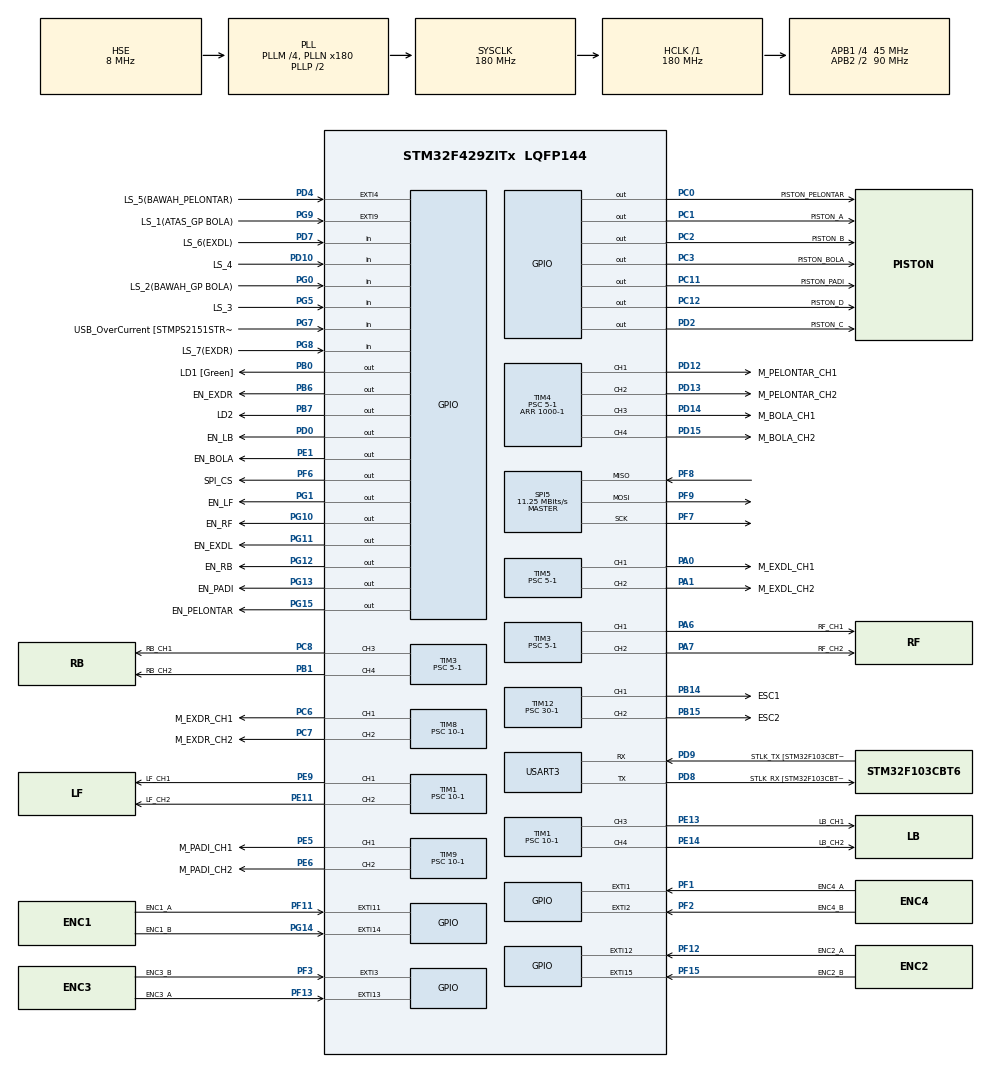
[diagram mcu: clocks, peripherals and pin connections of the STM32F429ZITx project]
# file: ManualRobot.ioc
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FREERTOS.Tasks01=InputTask,1,512,InputHandle_Task,Default,NULL,Dynamic,NULL,NULL;MechanismTask,0,512,MechanismHandle_Task,Default,NULL,Dynamic,NULL,NULL;OmniTask,0,512,OmniHandle_Task,Default,NULL,Dynamic,NULL,NULL
FREERTOS.configUSE_NEWLIB_REENTRANT=1
Mcu.Family=STM32F4
Mcu.Name=STM32F429ZITx
Mcu.Package=LQFP144
NVIC.EXTI15_10_IRQn=true\:5\:0\:false\:false\:true\:true\:true\:true\:true
NVIC.EXTI1_IRQn=true\:5\:0\:false\:false\:true\:true\:true\:true\:true
NVIC.EXTI2_IRQn=true\:5\:0\:false\:false\:true\:true\:true\:true\:true
NVIC.EXTI3_IRQn=true\:5\:0\:false\:false\:true\:true\:true\:true\:true
NVIC.EXTI4_IRQn=true\:5\:0\:false\:false\:true\:true\:true\:true\:true
NVIC.EXTI9_5_IRQn=true\:5\:0\:false\:false\:true\:true\:true\:true\:true
NVIC.PriorityGroup=NVIC_PRIORITYGROUP_4
NVIC.TIM7_IRQn=true\:15\:0\:false\:false\:true\:false\:false\:true\:true
NVIC.TimeBase=TIM7_IRQn
NVIC.TimeBaseIP=TIM7
NVIC.USART3_IRQn=true\:5\:0\:false\:false\:true\:true\:true\:true\:true
PA0/WKUP.GPIO_Label=M_EXDL_CH1
PA0/WKUP.Signal=S_TIM5_CH1
PA1.GPIO_Label=M_EXDL_CH2
PA1.Signal=S_TIM5_CH2
PA13.GPIO_Label=TMS
PA13.Mode=Serial_Wire
PA13.Signal=SYS_JTMS-SWDIO
PA14.GPIO_Label=TCK
PA14.Mode=Serial_Wire
PA14.Signal=SYS_JTCK-SWCLK
PA6.GPIO_Label=RF_CH1
PA6.Signal=S_TIM3_CH1
PA7.GPIO_Label=RF_CH2
PA7.Signal=S_TIM3_CH2
PB0.GPIO_Label=LD1 [Green]
PB0.Signal=GPIO_Output
PB1.GPIO_Label=RB_CH2
PB1.Signal=S_TIM3_CH4
PB14.GPIO_Label=ESC1
PB14.Signal=S_TIM12_CH1
PB15.GPIO_Label=ESC2
PB15.Signal=S_TIM12_CH2
PB6.GPIO_Label=EN_EXDR
PB6.Signal=GPIO_Output
PB7.GPIO_Label=LD2 
PB7.Signal=GPIO_Output
PC0.GPIO_Label=PISTON_PELONTAR
PC0.GPIO_Speed=GPIO_SPEED_FREQ_MEDIUM
PC0.Signal=GPIO_Output
PC1.GPIO_Label=PISTON_A
PC1.GPIO_Speed=GPIO_SPEED_FREQ_MEDIUM
PC1.Signal=GPIO_Output
PC11.GPIO_Label=PISTON_PADI
PC11.GPIO_Speed=GPIO_SPEED_FREQ_MEDIUM
PC11.Signal=GPIO_Output
PC12.GPIO_Label=PISTON_D
PC12.GPIO_Speed=GPIO_SPEED_FREQ_MEDIUM
PC12.Signal=GPIO_Output
PC14/OSC32_IN.Mode=LSE-External-Oscillator
PC14/OSC32_IN.Signal=RCC_OSC32_IN
PC15/OSC32_OUT.Mode=LSE-External-Oscillator
PC15/OSC32_OUT.Signal=RCC_OSC32_OUT
PC2.GPIO_Label=PISTON_B
PC2.GPIO_Speed=GPIO_SPEED_FREQ_MEDIUM
PC2.Signal=GPIO_Output
PC3.GPIO_Label=PISTON_BOLA
PC3.GPIO_Speed=GPIO_SPEED_FREQ_MEDIUM
PC3.Signal=GPIO_Output
PC6.GPIO_Label=M_EXDR_CH1
PC6.Signal=S_TIM8_CH1
PC7.GPIO_Label=M_EXDR_CH2
PC7.Signal=S_TIM8_CH2
PC8.GPIO_Label=RB_CH1
PC8.Signal=S_TIM3_CH3
PD0.GPIO_Label=EN_LB
PD0.Signal=GPIO_Output
PD10.GPIO_Label=LS_4
PD10.GPIO_PuPd=GPIO_PULLUP
PD10.Signal=GPIO_Input
PD12.GPIO_Label=M_PELONTAR_CH1
PD12.Signal=S_TIM4_CH1
PD13.GPIO_Label=M_PELONTAR_CH2
PD13.Signal=S_TIM4_CH2
PD14.GPIO_Label=M_BOLA_CH1
PD14.Signal=S_TIM4_CH3
PD15.GPIO_Label=M_BOLA_CH2
PD15.Signal=S_TIM4_CH4
PD2.GPIO_Label=PISTON_C
PD2.GPIO_Speed=GPIO_SPEED_FREQ_MEDIUM
PD2.Signal=GPIO_Output
PD4.GPIO_Label=LS_5(BAWAH_PELONTAR)
PD4.GPIO_PuPd=GPIO_PULLUP
PD4.Signal=GPXTI4
PD7.GPIO_Label=LS_6(EXDL)
PD7.GPIO_PuPd=GPIO_PULLUP
PD7.Signal=GPIO_Input
PD8.GPIO_Label=STLK_RX [STM32F103CBT6_PA3]
PD8.Mode=Asynchronous
PD8.Signal=USART3_TX
PD9.GPIO_Label=STLK_TX [STM32F103CBT6_PA2]
PD9.Mode=Asynchronous
PD9.Signal=USART3_RX
PE1.GPIO_Label=EN_BOLA
PE1.Signal=GPIO_Output
PE11.GPIO_Label=LF_CH2
PE11.Signal=S_TIM1_CH2
PE13.GPIO_Label=LB_CH1
PE13.Signal=S_TIM1_CH3
PE14.GPIO_Label=LB_CH2
PE14.Signal=S_TIM1_CH4
PE5.GPIO_Label=M_PADI_CH1
PE5.Signal=S_TIM9_CH1
PE6.GPIO_Label=M_PADI_CH2
PE6.Signal=S_TIM9_CH2
PE9.GPIO_Label=LF_CH1
PE9.Signal=S_TIM1_CH1
PF1.GPIO_Label=ENC4_A
PF1.GPIO_PuPd=GPIO_PULLUP
PF1.Signal=GPXTI1
PF11.GPIO_Label=ENC1_A
PF11.GPIO_ModeDefaultEXTI=GPIO_MODE_IT_RISING
PF11.GPIO_PuPd=GPIO_PULLUP
PF11.Signal=GPXTI11
PF12.GPIO_Label=ENC2_A
PF12.GPIO_PuPd=GPIO_PULLUP
PF12.Signal=GPXTI12
PF13.GPIO_Label=ENC3_A
PF13.GPIO_PuPd=GPIO_PULLUP
PF13.Signal=GPXTI13
PF15.GPIO_Label=ENC2_B
PF15.GPIO_PuPd=GPIO_PULLUP
PF15.Signal=GPXTI15
PF2.GPIO_Label=ENC4_B
PF2.GPIO_PuPd=GPIO_PULLUP
PF2.Signal=GPXTI2
PF2.Stacked=true
PF3.GPIO_Label=ENC3_B
PF3.GPIO_PuPd=GPIO_PULLUP
PF3.Signal=GPXTI3
PF6.GPIO_Label=SPI_CS
PF6.Signal=GPIO_Output
PF7.Mode=Full_Duplex_Master
PF7.Signal=SPI5_SCK
PF8.Mode=Full_Duplex_Master
PF8.Signal=SPI5_MISO
PF9.Mode=Full_Duplex_Master
PF9.Signal=SPI5_MOSI
PG0.GPIO_Label=LS_2(BAWAH_GP BOLA)
PG0.GPIO_PuPd=GPIO_PULLUP
PG0.Signal=GPIO_Input
PG1.GPIO_Label=EN_LF
PG1.Signal=GPIO_Output
PG10.GPIO_Label=EN_RF
PG10.Signal=GPIO_Output
PG11.GPIO_Label=EN_EXDL
PG11.Signal=GPIO_Output
PG12.GPIO_Label=EN_RB
PG12.Signal=GPIO_Output
PG13.GPIO_Label=EN_PADI
PG13.Signal=GPIO_Output
PG14.GPIO_Label=ENC1_B
PG14.GPIO_PuPd=GPIO_PULLUP
PG14.Signal=GPXTI14
PG15.GPIO_Label=EN_PELONTAR
PG15.Signal=GPIO_Output
PG5.GPIO_Label=LS_3
PG5.GPIO_PuPd=GPIO_PULLUP
PG5.Signal=GPIO_Input
PG7.GPIO_Label=USB_OverCurrent [STMPS2151STR_FAULT]
PG7.Signal=GPIO_Input
PG8.GPIO_Label=LS_7(EXDR)
PG8.GPIO_PuPd=GPIO_PULLUP
PG8.Signal=GPIO_Input
PG9.GPIO_Label=LS_1(ATAS_GP BOLA)
PG9.GPIO_PuPd=GPIO_PULLUP
PG9.Signal=GPXTI9
PH0/OSC_IN.GPIO_Label=MCO [STM32F103CBT6_PA8]
PH0/OSC_IN.Mode=HSE-External-Clock-Source
PH0/OSC_IN.Signal=RCC_OSC_IN
PH1/OSC_OUT.Mode=HSE-External-Clock-Source
PH1/OSC_OUT.Signal=RCC_OSC_OUT
ProjectManager.HeapSize=0x200
ProjectManager.StackSize=0x400
ProjectManager.TargetToolchain=STM32CubeIDE
RCC.48MHZClocksFreq_Value=51428571.428571425
RCC.AHBFreq_Value=180000000
RCC.APB1CLKDivider=RCC_HCLK_DIV4
RCC.APB1Freq_Value=45000000
RCC.APB1TimFreq_Value=90000000
RCC.APB2CLKDivider=RCC_HCLK_DIV2
RCC.APB2Freq_Value=90000000
RCC.APB2TimFreq_Value=180000000
RCC.CortexFreq_Value=180000000
RCC.HCLKFreq_Value=180000000
RCC.HSE_VALUE=8000000
RCC.HSI_VALUE=16000000
RCC.PLLM=4
RCC.PLLMUL=RCC_PLL_MUL9
RCC.PLLN=180
RCC.PLLQ=7
RCC.PLLSourceVirtual=RCC_PLLSOURCE_HSE
RCC.PRESCALERUSB=RCC_USBCLKSOURCE_PLL_DIV1_5
RCC.SYSCLKFreq_VALUE=180000000
RCC.SYSCLKSource=RCC_SYSCLKSOURCE_PLLCLK
RCC.SYSCLKSourceVirtual=RCC_SYSCLKSOURCE_PLLCLK
RCC.USBFreq_Value=48000000
RCC.VCOOutputFreq_Value=360000000
SH.S_TIM12_CH1.0=TIM12_CH1,PWM Generation1 CH1
SH.S_TIM12_CH2.0=TIM12_CH2,PWM Generation2 CH2
SH.S_TIM1_CH1.0=TIM1_CH1,PWM Generation1 CH1
SH.S_TIM1_CH2.0=TIM1_CH2,PWM Generation2 CH2
SH.S_TIM1_CH3.0=TIM1_CH3,PWM Generation3 CH3
SH.S_TIM1_CH4.0=TIM1_CH4,PWM Generation4 CH4
SH.S_TIM3_CH1.0=TIM3_CH1,PWM Generation1 CH1
SH.S_TIM3_CH2.0=TIM3_CH2,PWM Generation2 CH2
SH.S_TIM3_CH3.0=TIM3_CH3,PWM Generation3 CH3
SH.S_TIM3_CH4.0=TIM3_CH4,PWM Generation4 CH4
SH.S_TIM4_CH1.0=TIM4_CH1,PWM Generation1 CH1
SH.S_TIM4_CH2.0=TIM4_CH2,PWM Generation2 CH2
SH.S_TIM4_CH3.0=TIM4_CH3,PWM Generation3 CH3
SH.S_TIM4_CH4.0=TIM4_CH4,PWM Generation4 CH4
SH.S_TIM5_CH1.0=TIM5_CH1,PWM Generation1 CH1
SH.S_TIM5_CH2.0=TIM5_CH2,PWM Generation2 CH2
SH.S_TIM8_CH1.0=TIM8_CH1,PWM Generation1 CH1
SH.S_TIM8_CH2.0=TIM8_CH2,PWM Generation2 CH2
SH.S_TIM9_CH1.0=TIM9_CH1,PWM Generation1 CH1
SH.S_TIM9_CH2.0=TIM9_CH2,PWM Generation2 CH2
SPI5.BaudRatePrescaler=SPI_BAUDRATEPRESCALER_8
SPI5.CalculateBaudRate=11.25 MBits/s
SPI5.Direction=SPI_DIRECTION_2LINES
SPI5.Mode=SPI_MODE_MASTER
SPI5.VirtualType=VM_MASTER
TIM1.AutoReloadPreload=TIM_AUTORELOAD_PRELOAD_ENABLE
TIM1.Channel-PWM\ Generation1\ CH1=TIM_CHANNEL_1
TIM1.Channel-PWM\ Generation2\ CH2=TIM_CHANNEL_2
TIM1.Channel-PWM\ Generation3\ CH3=TIM_CHANNEL_3
TIM1.Channel-PWM\ Generation4\ CH4=TIM_CHANNEL_4
TIM1.Period=1000-1
TIM1.Prescaler=10-1
TIM12.AutoReloadPreload=TIM_AUTORELOAD_PRELOAD_ENABLE
TIM12.Channel-PWM\ Generation1\ CH1=TIM_CHANNEL_1
TIM12.Channel-PWM\ Generation2\ CH2=TIM_CHANNEL_2
TIM12.Period=60000-1
TIM12.Prescaler=30-1
TIM3.AutoReloadPreload=TIM_AUTORELOAD_PRELOAD_ENABLE
TIM3.Channel-PWM\ Generation1\ CH1=TIM_CHANNEL_1
TIM3.Channel-PWM\ Generation2\ CH2=TIM_CHANNEL_2
TIM3.Channel-PWM\ Generation3\ CH3=TIM_CHANNEL_3
TIM3.Channel-PWM\ Generation4\ CH4=TIM_CHANNEL_4
TIM3.Period=1000-1
TIM3.Prescaler=5-1
TIM4.AutoReloadPreload=TIM_AUTORELOAD_PRELOAD_ENABLE
TIM4.Channel-PWM\ Generation1\ CH1=TIM_CHANNEL_1
TIM4.Channel-PWM\ Generation2\ CH2=TIM_CHANNEL_2
TIM4.Channel-PWM\ Generation3\ CH3=TIM_CHANNEL_3
TIM4.Channel-PWM\ Generation4\ CH4=TIM_CHANNEL_4
TIM4.Period=1000-1
TIM4.Prescaler=5-1
TIM5.AutoReloadPreload=TIM_AUTORELOAD_PRELOAD_ENABLE
TIM5.Channel-PWM\ Generation1\ CH1=TIM_CHANNEL_1
TIM5.Channel-PWM\ Generation2\ CH2=TIM_CHANNEL_2
TIM5.Period=1000-1
TIM5.Prescaler=5-1
TIM8.AutoReloadPreload=TIM_AUTORELOAD_PRELOAD_ENABLE
TIM8.Channel-PWM\ Generation1\ CH1=TIM_CHANNEL_1
TIM8.Channel-PWM\ Generation2\ CH2=TIM_CHANNEL_2
TIM8.Period=1000-1
TIM8.Prescaler=10-1
TIM9.AutoReloadPreload=TIM_AUTORELOAD_PRELOAD_ENABLE
TIM9.Channel-PWM\ Generation1\ CH1=TIM_CHANNEL_1
TIM9.Channel-PWM\ Generation2\ CH2=TIM_CHANNEL_2
TIM9.Period=1000-1
TIM9.Prescaler=10-1
USART3.VirtualMode=VM_ASYNC
VP_FREERTOS_VS_CMSIS_V1.Mode=CMSIS_V1
VP_SYS_VS_tim7.Mode=TIM7
VP_TIM12_VS_ClockSourceINT.Mode=Internal
VP_TIM1_VS_ClockSourceINT.Mode=Internal
VP_TIM3_VS_ClockSourceINT.Mode=Internal
VP_TIM4_VS_ClockSourceINT.Mode=Internal
VP_TIM5_VS_ClockSourceINT.Mode=Internal
VP_TIM8_VS_ClockSourceINT.Mode=Internal
VP_TIM9_VS_ClockSourceINT.Mode=Internal
board=NUCLEO-F429ZI

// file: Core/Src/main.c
/* USER CODE BEGIN Header */
/**
  ******************************************************************************
  * @file           : main.c
  * @brief          : Main program body
  ******************************************************************************
  * @attention
  *
  * Copyright (c) 2024 STMicroelectronics.
  * All rights reserved.
  *
  * This software is licensed under terms that can be found in the LICENSE file
  * in the root directory of this software component.
  * If no LICENSE file comes with this software, it is provided AS-IS.
  *
  ******************************************************************************
  */
/* USER CODE END Header */
#include "main.h"
#include "cmsis_os.h"

/* USER CODE BEGIN Includes */
#include "CAN_SPI.h"
#include "stdio.h"
#include "4kinematik.h"
#include "motor_ctrl.h"
#include "ds4.h"
#include "ReadRPM.h"
#include "PID.h"
/* USER CODE END Includes */

/* USER CODE BEGIN PTD */
#define Calibrate 1
/* USER CODE END PTD */

SPI_HandleTypeDef hspi5;

TIM_HandleTypeDef htim1;
TIM_HandleTypeDef htim3;
TIM_HandleTypeDef htim4;
TIM_HandleTypeDef htim5;
TIM_HandleTypeDef htim8;
TIM_HandleTypeDef htim9;
TIM_HandleTypeDef htim12;

UART_HandleTypeDef huart3;

osThreadId InputTaskHandle;
osThreadId MechanismTaskHandle;
osThreadId OmniTaskHandle;
/* USER CODE BEGIN PV */
//input stik
int atas, bawah, kanan, kiri, kotak, silang, bulat, segitiga;
int l1, r1, l3, r3, share, options, ps, tpad;
int lx,ly,l2,r2,lxs,lys;
int rxm,rym,lxm,lym,th;
int atas1, tpad1, r3a; //flag tombol
//omni
int wheel[4];
int pulse_enc, pulse_dist;
double rpm1 = 0, rpm2 = 0, rpm3 = 0, rpm4 = 0;
int ret;
int i=0;
double nos=1;
int putar=0, putar1=0;
//sistem mode
int mode=1; //flag MODE
int lsflag_1=0,lsflag_2=0,lsflag_3=0,lsflag_4=0,lsflag_5=0,lsflag_6=0,lsflag_7=0,flagFirst=0,capit=0;
int stepLoading=0, loopPadi=0, stepPadi=0, p1=0, p2=0, p3=0, p4=0, p5=0;//p=read silinder
int l=1; // flag posisi awal ganti mode
//BLDC
int kec=0,kec1=0;
int adj=0;
int dutyAdj=0;
uint32_t dutyR=3000;
int k=3000;
//debounce
uint32_t currentTick,nowTick;
/* USER CODE END PV */

void SystemClock_Config(void);
static void MX_GPIO_Init(void);
static void MX_USART3_UART_Init(void);
static void MX_TIM3_Init(void);
static void MX_TIM12_Init(void);
static void MX_TIM1_Init(void);
static void MX_SPI5_Init(void);
static void MX_TIM4_Init(void);
static void MX_TIM5_Init(void);
static void MX_TIM8_Init(void);
static void MX_TIM9_Init(void);
void InputHandle_Task(void const * argument);
void MechanismHandle_Task(void const * argument);
void OmniHandle_Task(void const * argument);

/* USER CODE BEGIN PFP */
void HAL_GPIO_EXTI_Callback(uint16_t GPIO_Pin);
/* USER CODE END PFP */

/* USER CODE BEGIN 0 */
uCAN_MSG txMessage;
uCAN_MSG rxMessage;

int map(int value, int fromLow, int fromHigh, int toLow, int toHigh) {//map nilai
    return (int) (value - fromLow) * (toHigh - toLow) / (fromHigh - fromLow) + toLow;
}

int _write(int file, char *ptr, int len){ //buat printf
	HAL_UART_Transmit_IT(&huart3, (uint8_t*)ptr, len);
	return len;
}
void mode_padi(){
	lsflag_3=HAL_GPIO_ReadPin(LS_3_GPIO_Port, LS_3_Pin);
	lsflag_4=HAL_GPIO_ReadPin(LS_4_GPIO_Port, LS_4_Pin);
	lsflag_6=HAL_GPIO_ReadPin(LS_6_GPIO_Port, LS_6_Pin);
	lsflag_7=HAL_GPIO_ReadPin(LS_7_GPIO_Port, LS_7_Pin);
	p4 = HAL_GPIO_ReadPin(PISTON_D_GPIO_Port, PISTON_D_Pin);
	p5 = HAL_GPIO_ReadPin(PISTON_PADI_GPIO_Port, PISTON_PADI_Pin);
	if(l==-1){//kondisi awal masuk mode padi setelah kembali dari mode bola
		motor_drive(&MBola, 1, 800);
		if(lsflag_1==1){
			motor_drive(&MBola, 0, 0);
			lsflag_2=0;
			l=1;
		}
	}
	if (kanan==1){//nutup manual 1, buka -1
		motor_drive(&MExtendRight, 1, 750);//kanan 1
		lsflag_7=1;
	}
	else{
		motor_drive(&MExtendRight, 1, 0);
	}
	if (kiri==1){//nutup manual -1, buka 1
		motor_drive(&MExtendLeft, -1, 750);//kiri nutup -1
		lsflag_6=1;
	}
	else{
		motor_drive(&MExtendLeft, 1, 0);
	}

	if (atas==1) {//buka(extend) otomatis
		atas1=1;
	}
	if (atas1==1){//buka(extend) otomatis
		if (lsflag_7==1){
			motor_drive(&MExtendRight, -1, 750);//buka
		}
		else {
			motor_drive(&MExtendRight, 0, 0);
		}
		if (lsflag_6==1){
			motor_drive(&MExtendLeft, 1, 750);//buka
		}
		else {
			motor_drive(&MExtendLeft, 0, 0);
		}
		if(lsflag_6 == 0 && lsflag_7 == 0){
			atas1=0;
		}
	}

	if (bawah==1){//reset buka oto, reset sequence padi
		atas1=0;
		loopPadi=0;
		stepPadi=0;
	}

	if (kotak==1){//japit 4 padi
		if(currentTick-nowTick>200){
			HAL_GPIO_TogglePin(PISTON_A_GPIO_Port, PISTON_A_Pin);
			HAL_GPIO_TogglePin(PISTON_B_GPIO_Port, PISTON_B_Pin);
			HAL_GPIO_TogglePin(PISTON_C_GPIO_Port, PISTON_C_Pin);
			HAL_GPIO_TogglePin(PISTON_D_GPIO_Port, PISTON_D_Pin);
			nowTick = currentTick;
		}
	}
	else if (silang==1){//japit padi 1
		if(currentTick-nowTick>500){
			HAL_GPIO_TogglePin(PISTON_A_GPIO_Port, PISTON_A_Pin);
			nowTick = currentTick;
		}
	}
	else if (bulat==1){//japit padi 2
		if(currentTick-nowTick>500){
			HAL_GPIO_TogglePin(PISTON_B_GPIO_Port, PISTON_B_Pin);
			nowTick = currentTick;
		}
	}
	if (l1==1){//turun lift padi
		if (lsflag_4==1){//turun
			motor_drive(&MPadi, -1, 1000);
		}
		else {
			motor_drive(&MPadi, 0 , 0);
		}
	}
	else if (r1==1){//naik lift padi
		if (lsflag_3==1){//naik
			motor_drive(&MPadi, 1, 1000);
		}
		else {
			motor_drive(&MPadi, 0 , 0);
		}
	}
	else{//ketika l1 /r1 tidak ada aktivitas
		motor_drive(&MPadi, 1, 0);
	}

	if (r3==1){//start zone/ posisi awal tekuk dan bawah nyentuh ls4
		r3a=1;
	}
	else if(r3a==1){//sequence posisi start
		if(currentTick-nowTick>500){
			HAL_GPIO_TogglePin(PISTON_PADI_GPIO_Port, PISTON_PADI_Pin);
			nowTick = currentTick;
		}
		vTaskDelay(300);
		if(p5==1){
			atas1=1;
			HAL_GPIO_WritePin(PISTON_D_GPIO_Port, PISTON_D_Pin, RESET);
		}
		else if(p5==0){
			HAL_GPIO_WritePin(PISTON_D_GPIO_Port, PISTON_D_Pin, SET);
		}
		loopPadi=0;
		stepPadi=0;
		r3a=0;
	}
	else if (share==1){//japit padi 3
		if(currentTick-nowTick>500){
			HAL_GPIO_TogglePin(PISTON_C_GPIO_Port, PISTON_C_Pin);
			nowTick = currentTick;
		}
	}
	else if (options==1){//japit padi 4
		if(currentTick-nowTick>500){
			HAL_GPIO_TogglePin(PISTON_D_GPIO_Port, PISTON_D_Pin);
			nowTick = currentTick;
		}
	}
	else if (tpad==1){//masuk mode sequence semi auto padi
		if(currentTick-nowTick>500){
			loopPadi+=1;
			nowTick = currentTick;
		}
		stepPadi=0;
	}
	if (loopPadi==1){//sequence semi auto padi
		if (stepPadi==0) {//posisi awal dibawah
			if (lsflag_4==1){//turun
				motor_drive(&MPadi, -1, 1000);
			}
			else {
				motor_drive(&MPadi, 0 , 0);
				stepPadi=1;
			}
		}
		else if (stepPadi==1) {//cek buka capit padi
			p1 = HAL_GPIO_ReadPin(PISTON_A_GPIO_Port, PISTON_A_Pin);
			p2 = HAL_GPIO_ReadPin(PISTON_B_GPIO_Port, PISTON_B_Pin);
			p3 = HAL_GPIO_ReadPin(PISTON_C_GPIO_Port, PISTON_C_Pin);
			p4 = HAL_GPIO_ReadPin(PISTON_D_GPIO_Port, PISTON_D_Pin);
			if(p1==1 && p2==1 && p3==1 && p4==1){
				if(currentTick-nowTick>200){ //ketika ke4 japit posisi tutup
					HAL_GPIO_TogglePin(PISTON_A_GPIO_Port, PISTON_A_Pin);
					HAL_GPIO_TogglePin(PISTON_B_GPIO_Port, PISTON_B_Pin);
					HAL_GPIO_TogglePin(PISTON_C_GPIO_Port, PISTON_C_Pin);
					HAL_GPIO_TogglePin(PISTON_D_GPIO_Port, PISTON_D_Pin);
					nowTick = currentTick;
				}
			}
			else if(p1==1){//ketika japit 1 posisi tutup
				if(currentTick-nowTick>200){
					HAL_GPIO_TogglePin(PISTON_A_GPIO_Port, PISTON_A_Pin);
					nowTick = currentTick;
				}
			}
			else if(p2==1){//ketika japit 2 posisi tutup
				if(currentTick-nowTick>200){
					HAL_GPIO_TogglePin(PISTON_B_GPIO_Port, PISTON_B_Pin);
					nowTick = currentTick;
				}
			}
			else if(p3==1){//ketika japit 3 posisi tutup
				if(currentTick-nowTick>200){
					HAL_GPIO_TogglePin(PISTON_C_GPIO_Port, PISTON_C_Pin);
					nowTick = currentTick;
				}
			}
			else if(p4==1){//ketika japit 4 posisi tutup
				if(currentTick-nowTick>200){
					HAL_GPIO_TogglePin(PISTON_D_GPIO_Port, PISTON_D_Pin);
					nowTick = currentTick;
				}
			}
			else {//untuk mengecek ulang kesiapan posisi awal sequence
				stepPadi=0;
			}
		}
	}
	else if (loopPadi==2){//langkah 2, ambil 4 padi dan naik
		if(stepPadi==0){
			if(kotak==1){
				stepPadi=1;
			}
		}
		else if (stepPadi==1){
			if (lsflag_3==1){//naik
				motor_drive(&MPadi, 1, 1000);
			}
			else {
				motor_drive(&MPadi, 1 , 0);
				stepPadi=5;
			}
		}
	}
	else if(loopPadi==3){//turun dan letakkan 2 padi(1 dan 3)
		if(stepPadi==0){
			if (lsflag_4==1){//turun
				motor_drive(&MPadi, -1, 1000);
			}
			else {
				motor_drive(&MPadi, 0 , 0);
				stepPadi=1;
			}
		}
		else if(stepPadi==1){
				HAL_GPIO_TogglePin(PISTON_A_GPIO_Port, PISTON_A_Pin);
				HAL_GPIO_TogglePin(PISTON_C_GPIO_Port, PISTON_C_Pin);
			stepPadi=2;
		}
		else if (stepPadi==2){
			if (lsflag_3==1){//naik
				motor_drive(&MPadi, 1, 1000);
			}
			else {
				motor_drive(&MPadi, 0 , 0);
				stepPadi=5;
			}
		}
	}
	else if(loopPadi==4){//turun dan letakkan 2 padi(2 dan 4)
		if(stepPadi==0){
			if (lsflag_4==1){//turun
				motor_drive(&MPadi, -1, 1000);
			}
			else {
				motor_drive(&MPadi, 0 , 0);
				stepPadi=1;
			}
		}
		else if(stepPadi==1){
			if(currentTick-nowTick>500){
				HAL_GPIO_TogglePin(PISTON_B_GPIO_Port, PISTON_B_Pin);
				HAL_GPIO_TogglePin(PISTON_D_GPIO_Port, PISTON_D_Pin);
				nowTick = currentTick;
			}
			stepPadi=2;
		}
		else if (stepPadi==2){
			if (lsflag_3==1){//naik
				motor_drive(&MPadi, 1, 1000);
			}
			else {
				motor_drive(&MPadi, 0 , 0);
				stepPadi=3;
			}
		}
		else if(stepPadi==3){//sequence selesai
			stepPadi=0;
			loopPadi=0;
		}
	}
	else{//sequence selesai
		stepPadi=0;
		loopPadi=0;
	}
	bldc_drive(&roller1, 3000);
	bldc_drive(&roller2, 3000);
	motor_drive(&MPelontar, 0, 0);
}

void mode_bola(){
	lsflag_2=HAL_GPIO_ReadPin(LS_2_GPIO_Port, LS_2_Pin);
	if (bawah==1) {//pelontar turun
		if (lsflag_5==0){//turun
			motor_drive(&MPelontar, -1, 550);
		}
		else {
			motor_drive(&MPelontar, 0 , 0);
		}
	}
	else if (atas==1){////pelontar turun
		motor_drive(&MPelontar, 1, 450);
		lsflag_5=0;
	}
	else{
		motor_drive(&MPelontar, 0, 0);
	}

	if (kanan==1){//menurunkan level kecepatan bldc
		if(currentTick-nowTick>500 && kec<5){
			adj=0;
			kec+=1;
			nowTick = currentTick;
		}
	}

	else if (kiri==1){//menurunkan level kecepatan bldc
		if(currentTick-nowTick>500 && kec>0){
			adj=0;
			kec-=1;
			nowTick = currentTick;
		}
	}
	if (kec==0 && adj==0){dutyR=3000;kec1=3000;}//kec bldc
	else if (kec==1 && adj==0){dutyR=3300;kec1=3300;}
	else if (kec==2 && adj==0){dutyR=3450;kec1=3450;}//kec bldc
	else if (kec==3 && adj==0){dutyR=3600;kec1=3600;}//kec bldc
	else if (kec==4 && adj==0){dutyR=4000;kec1=4000;}//kec bldc

	if (kotak==1){//SHOOOOT DARDERDOR
		HAL_GPIO_WritePin(PISTON_PELONTAR_GPIO_Port, PISTON_PELONTAR_Pin, 1);
		adj=0;
		dutyR=dutyR+200;
	}
	else {
		HAL_GPIO_WritePin(PISTON_PELONTAR_GPIO_Port, PISTON_PELONTAR_Pin, 0);
		if (kec==0 && adj==0){dutyR=3000;kec1=3000;}//kec bldc
		else if (kec==1 && adj==0){dutyR=3300;kec1=3300;}
		else if (kec==2 && adj==0){dutyR=3450;kec1=3450;}//kec bldc
		else if (kec==3 && adj==0){dutyR=3600;kec1=3600;}//kec bldc
		else if (kec==4 && adj==0){dutyR=4000;kec1=4000;}//kec bldc
	}

	if (silang==1){//capit bola
		if (currentTick - nowTick > 500) {
			HAL_GPIO_TogglePin(PISTON_BOLA_GPIO_Port, PISTON_BOLA_Pin);
			capit = HAL_GPIO_ReadPin(PISTON_BOLA_GPIO_Port, PISTON_BOLA_Pin);
			nowTick = currentTick;
		}
	}
	if (bulat==1){//jika pelontar error (saat ini tidak difungsikan)
		motor_drive(&MPelontar, 0, 0);
		lsflag_5=1;
		stepLoading=0;
	}
	if (l1==1){//pencapit turun
		if(lsflag_2==0){
			motor_drive(&MBola, -1, 800);
			lsflag_1=0;
		}
		else{
			motor_drive(&MBola, 0, 0);
		}
	}
	else if (r1==1){//pencapit naik
		if(lsflag_1==0){
			motor_drive(&MBola, 1, 800);
			lsflag_2=0;
		}
		else{
			motor_drive(&MBola, 0, 0);
		}
	}
	else{//ketika r1 / l1 tidak ada aktivitas
		motor_drive(&MBola, 0, 0);
	}
	if(l==-1){ //pertama kali masuk mode bola, posisikan pencapit ke bawah dan putar bldc
		motor_drive(&MBola, -1, 800);
		if(lsflag_2==1){
			motor_drive(&MBola, 0, 0);
			lsflag_1=0;
			dutyR=3300;
			bldc_drive(&roller1, dutyR);
			bldc_drive(&roller2, dutyR);
			vTaskDelay(600);
			kec1=3000;
			bldc_drive(&roller1, dutyR);
			bldc_drive(&roller2, dutyR);
			vTaskDelay(300);
			dutyR=3300;
			kec1=3300;
			kec=1;
			lsflag_5=1;
			stepLoading=0;
			l=1;
		}
	}
	if (share==1){//kurangi nilai variabel kecepatan bldc
		adj=1;
		if(currentTick-nowTick>100 && kec1>3000){
			kec1-=10;
			nowTick = currentTick;
		}
	}
	else if (options==1){//menambah nilai variabel kecepatan bldc
		adj=1;
		if(currentTick-nowTick>100 && kec1<6000){
			kec1+=10;
			nowTick = currentTick;
		}
	}
	else if (tpad==1){//touchpad untuk masuk sequence semi auto loading bola
		tpad1=1;
		stepLoading=0;
	}
	if(tpad1==1){ // semi auto loading bola
		if(stepLoading==0){//ambil bola
			if	(lsflag_2==0){
				motor_drive(&MBola, -1, 800);
			}
			else{
				motor_drive(&MBola, 0, 0);
				lsflag_1=0;
			}
			if (lsflag_5==1 && lsflag_2==1 && capit==1){
				stepLoading=1;
			}
		}
		else if(stepLoading==1){//taruh ke pelontar
			if(lsflag_1==0){
				motor_drive(&MBola, 1, 1000);
			}
			else {
				motor_drive(&MBola, 0, 0);
				HAL_GPIO_TogglePin(PISTON_BOLA_GPIO_Port, PISTON_BOLA_Pin);
				capit = HAL_GPIO_ReadPin(PISTON_BOLA_GPIO_Port, PISTON_BOLA_Pin);
				osDelay(3);
				stepLoading=2;
			}
			lsflag_2=0;
		}
		else if(stepLoading==2){//kembali posisi ambil
			if	(lsflag_2==0){
				motor_drive(&MBola, -1, 800);
			}
			else{
				motor_drive(&MBola, 0, 0);
				lsflag_1=0;
				stepLoading=3;//end
			}
		}
		else{//selesai sequence
			tpad1=0;
			stepLoading=0;
		}
	}
	else{//ketika tidak ada aktivitas maka mode sequence tidak aktif(diposisikan untuk siap siaga)
		tpad1=0;
		stepLoading=0;
	}
	if (r3==1){ //reset sistem semi-auto loading ketika ada error
		flagFirst=1;
		lsflag_5=1;
		lsflag_1=0;
		tpad1=0;
	}

	if (flagFirst==1){//gandengan e r3
		if(lsflag_2==0){
			motor_drive(&MBola, -1, 800);
		}
		else{
			motor_drive(&MBola, 0, 0);
			flagFirst=0;
		}
	}

	if(adj==1){//ketika nilai variabel kecepatan bldc diatur dengan tombol share/option
		bldc_drive(&roller1, kec1);
		bldc_drive(&roller2, kec1);
	}
	else{//ketika nilai variabel kecepatan bldc diatur dengan dengan nilai tetap(tombol kanan/kiri)
		bldc_drive(&roller1, dutyR);
		bldc_drive(&roller2, dutyR);
	}
}
/* USER CODE END 0 */

int main(void)
{

  /* MCU Configuration--------------------------------------------------------*/

  /* Reset of all peripherals, Initializes the Flash interface and the Systick. */
  HAL_Init();

  /* Configure the system clock */
  SystemClock_Config();

  /* Initialize all configured peripherals */
  MX_GPIO_Init();
  MX_USART3_UART_Init();
  MX_TIM3_Init();
  MX_TIM12_Init();
  MX_TIM1_Init();
  MX_SPI5_Init();
  MX_TIM4_Init();
  MX_TIM5_Init();
  MX_TIM8_Init();
  MX_TIM9_Init();
  /* USER CODE BEGIN 2 */
	#if Calibrate
	TIM12->CCR1 = 6000;  // Set the maximum pulse (2ms)
	HAL_Delay (2000);  // wait for 1 beep
	TIM12->CCR1 = 3000;   // Set the minimum Pulse (1ms)
	HAL_Delay (1000);  // wait for 2 beeps
	#endif
  //inisiasi bldc roller
  bldc_init(&roller1, 3000);
  bldc_init(&roller2, 3000);

//inisiasi canbus spi
  HAL_GPIO_WritePin(LD2_GPIO_Port, LD2_Pin, GPIO_PIN_RESET);

    ret = CANSPI_Initialize();
    if(ret < 0){
    	  HAL_GPIO_WritePin(LD2_GPIO_Port, LD2_Pin, GPIO_PIN_SET);
    	  while(1){}
    }

  motor_init(&LeftFront);
  motor_init(&LeftBack);
  motor_init(&RightBack);
  motor_init(&RightFront);
  motor_init(&MPelontar);
  motor_init(&MBola);
  motor_init(&MExtendLeft);
  motor_init(&MExtendRight);
  motor_init(&MPadi);

  enable_motor(&LeftFront);
  enable_motor(&LeftBack);
  enable_motor(&RightBack);
  enable_motor(&RightFront);
  enable_motor(&MPelontar);
  enable_motor(&MBola);
  enable_motor(&MExtendLeft);
  enable_motor(&MExtendRight);
  enable_motor(&MPadi);
  /* USER CODE END 2 */

  /* Create the thread(s) */
  /* definition and creation of InputTask */
  osThreadDef(InputTask, InputHandle_Task, osPriorityAboveNormal, 0, 512);
  InputTaskHandle = osThreadCreate(osThread(InputTask), NULL);

  /* definition and creation of MechanismTask */
  osThreadDef(MechanismTask, MechanismHandle_Task, osPriorityNormal, 0, 512);
  MechanismTaskHandle = osThreadCreate(osThread(MechanismTask), NULL);

  /* definition and creation of OmniTask */
  osThreadDef(OmniTask, OmniHandle_Task, osPriorityNormal, 0, 512);
  OmniTaskHandle = osThreadCreate(osThread(OmniTask), NULL);

  /* Start scheduler */
  osKernelStart();

  /* We should never get here as control is now taken by the scheduler */
  /* Infinite loop */
  while (1)
  {

  }
}

void SystemClock_Config(void)
{
  RCC_OscInitTypeDef RCC_OscInitStruct = {0};
  RCC_ClkInitTypeDef RCC_ClkInitStruct = {0};

  /** Configure the main internal regulator output voltage
  */
  __HAL_RCC_PWR_CLK_ENABLE();
  __HAL_PWR_VOLTAGESCALING_CONFIG(PWR_REGULATOR_VOLTAGE_SCALE1);

  /** Initializes the RCC Oscillators according to the specified parameters
  * in the RCC_OscInitTypeDef structure.
  */
  RCC_OscInitStruct.OscillatorType = RCC_OSCILLATORTYPE_HSE;
  RCC_OscInitStruct.HSEState = RCC_HSE_BYPASS;
  RCC_OscInitStruct.PLL.PLLState = RCC_PLL_ON;
  RCC_OscInitStruct.PLL.PLLSource = RCC_PLLSOURCE_HSE;
  RCC_OscInitStruct.PLL.PLLM = 4;
  RCC_OscInitStruct.PLL.PLLN = 180;
  RCC_OscInitStruct.PLL.PLLP = RCC_PLLP_DIV2;
  RCC_OscInitStruct.PLL.PLLQ = 7;
  if (HAL_RCC_OscConfig(&RCC_OscInitStruct) != HAL_OK)
  {
    Error_Handler();
  }

  /** Activate the Over-Drive mode
  */
  if (HAL_PWREx_EnableOverDrive() != HAL_OK)
  {
    Error_Handler();
  }

  /** Initializes the CPU, AHB and APB buses clocks
  */
  RCC_ClkInitStruct.ClockType = RCC_CLOCKTYPE_HCLK|RCC_CLOCKTYPE_SYSCLK
                              |RCC_CLOCKTYPE_PCLK1|RCC_CLOCKTYPE_PCLK2;
  RCC_ClkInitStruct.SYSCLKSource = RCC_SYSCLKSOURCE_PLLCLK;
  RCC_ClkInitStruct.AHBCLKDivider = RCC_SYSCLK_DIV1;
  RCC_ClkInitStruct.APB1CLKDivider = RCC_HCLK_DIV4;
  RCC_ClkInitStruct.APB2CLKDivider = RCC_HCLK_DIV2;

  if (HAL_RCC_ClockConfig(&RCC_ClkInitStruct, FLASH_LATENCY_5) != HAL_OK)
  {
    Error_Handler();
  }
}

static void MX_SPI5_Init(void)
{

  /* SPI5 parameter configuration*/
  hspi5.Instance = SPI5;
  hspi5.Init.Mode = SPI_MODE_MASTER;
  hspi5.Init.Direction = SPI_DIRECTION_2LINES;
  hspi5.Init.DataSize = SPI_DATASIZE_8BIT;
  hspi5.Init.CLKPolarity = SPI_POLARITY_LOW;
  hspi5.Init.CLKPhase = SPI_PHASE_1EDGE;
  hspi5.Init.NSS = SPI_NSS_SOFT;
  hspi5.Init.BaudRatePrescaler = SPI_BAUDRATEPRESCALER_8;
  hspi5.Init.FirstBit = SPI_FIRSTBIT_MSB;
  hspi5.Init.TIMode = SPI_TIMODE_DISABLE;
  hspi5.Init.CRCCalculation = SPI_CRCCALCULATION_DISABLE;
  hspi5.Init.CRCPolynomial = 10;
  if (HAL_SPI_Init(&hspi5) != HAL_OK)
  {
    Error_Handler();
  }

}

static void MX_TIM1_Init(void)
{

  TIM_ClockConfigTypeDef sClockSourceConfig = {0};
  TIM_MasterConfigTypeDef sMasterConfig = {0};
  TIM_OC_InitTypeDef sConfigOC = {0};
  TIM_BreakDeadTimeConfigTypeDef sBreakDeadTimeConfig = {0};

  htim1.Instance = TIM1;
  htim1.Init.Prescaler = 10-1;
  htim1.Init.CounterMode = TIM_COUNTERMODE_UP;
  htim1.Init.Period = 1000-1;
  htim1.Init.ClockDivision = TIM_CLOCKDIVISION_DIV1;
  htim1.Init.RepetitionCounter = 0;
  htim1.Init.AutoReloadPreload = TIM_AUTORELOAD_PRELOAD_ENABLE;
  if (HAL_TIM_Base_Init(&htim1) != HAL_OK)
  {
    Error_Handler();
  }
  sClockSourceConfig.ClockSource = TIM_CLOCKSOURCE_INTERNAL;
  if (HAL_TIM_ConfigClockSource(&htim1, &sClockSourceConfig) != HAL_OK)
  {
    Error_Handler();
  }
  if (HAL_TIM_PWM_Init(&htim1) != HAL_OK)
  {
    Error_Handler();
  }
  sMasterConfig.MasterOutputTrigger = TIM_TRGO_RESET;
  sMasterConfig.MasterSlaveMode = TIM_MASTERSLAVEMODE_DISABLE;
  if (HAL_TIMEx_MasterConfigSynchronization(&htim1, &sMasterConfig) != HAL_OK)
  {
    Error_Handler();
  }
  sConfigOC.OCMode = TIM_OCMODE_PWM1;
  sConfigOC.Pulse = 0;
  sConfigOC.OCPolarity = TIM_OCPOLARITY_HIGH;
  sConfigOC.OCNPolarity = TIM_OCNPOLARITY_HIGH;
  sConfigOC.OCFastMode = TIM_OCFAST_DISABLE;
  sConfigOC.OCIdleState = TIM_OCIDLESTATE_RESET;
  sConfigOC.OCNIdleState = TIM_OCNIDLESTATE_RESET;
  if (HAL_TIM_PWM_ConfigChannel(&htim1, &sConfigOC, TIM_CHANNEL_1) != HAL_OK)
  {
    Error_Handler();
  }
  if (HAL_TIM_PWM_ConfigChannel(&htim1, &sConfigOC, TIM_CHANNEL_2) != HAL_OK)
  {
    Error_Handler();
  }
  if (HAL_TIM_PWM_ConfigChannel(&htim1, &sConfigOC, TIM_CHANNEL_3) != HAL_OK)
  {
    Error_Handler();
  }
  if (HAL_TIM_PWM_ConfigChannel(&htim1, &sConfigOC, TIM_CHANNEL_4) != HAL_OK)
  {
    Error_Handler();
  }
  sBreakDeadTimeConfig.OffStateRunMode = TIM_OSSR_DISABLE;
  sBreakDeadTimeConfig.OffStateIDLEMode = TIM_OSSI_DISABLE;
  sBreakDeadTimeConfig.LockLevel = TIM_LOCKLEVEL_OFF;
  sBreakDeadTimeConfig.DeadTime = 0;
  sBreakDeadTimeConfig.BreakState = TIM_BREAK_DISABLE;
  sBreakDeadTimeConfig.BreakPolarity = TIM_BREAKPOLARITY_HIGH;
  sBreakDeadTimeConfig.AutomaticOutput = TIM_AUTOMATICOUTPUT_DISABLE;
  if (HAL_TIMEx_ConfigBreakDeadTime(&htim1, &sBreakDeadTimeConfig) != HAL_OK)
  {
    Error_Handler();
  }
  HAL_TIM_MspPostInit(&htim1);

}

static void MX_TIM3_Init(void)
{

  TIM_ClockConfigTypeDef sClockSourceConfig = {0};
  TIM_MasterConfigTypeDef sMasterConfig = {0};
  TIM_OC_InitTypeDef sConfigOC = {0};

  htim3.Instance = TIM3;
  htim3.Init.Prescaler = 5-1;
  htim3.Init.CounterMode = TIM_COUNTERMODE_UP;
  htim3.Init.Period = 1000-1;
  htim3.Init.ClockDivision = TIM_CLOCKDIVISION_DIV1;
  htim3.Init.AutoReloadPreload = TIM_AUTORELOAD_PRELOAD_ENABLE;
  if (HAL_TIM_Base_Init(&htim3) != HAL_OK)
  {
    Error_Handler();
  }
  sClockSourceConfig.ClockSource = TIM_CLOCKSOURCE_INTERNAL;
  if (HAL_TIM_ConfigClockSource(&htim3, &sClockSourceConfig) != HAL_OK)
  {
    Error_Handler();
  }
  if (HAL_TIM_PWM_Init(&htim3) != HAL_OK)
  {
    Error_Handler();
  }
  sMasterConfig.MasterOutputTrigger = TIM_TRGO_RESET;
  sMasterConfig.MasterSlaveMode = TIM_MASTERSLAVEMODE_DISABLE;
  if (HAL_TIMEx_MasterConfigSynchronization(&htim3, &sMasterConfig) != HAL_OK)
  {
    Error_Handler();
  }
  sConfigOC.OCMode = TIM_OCMODE_PWM1;
  sConfigOC.Pulse = 0;
  sConfigOC.OCPolarity = TIM_OCPOLARITY_HIGH;
  sConfigOC.OCFastMode = TIM_OCFAST_DISABLE;
  if (HAL_TIM_PWM_ConfigChannel(&htim3, &sConfigOC, TIM_CHANNEL_1) != HAL_OK)
  {
    Error_Handler();
  }
  if (HAL_TIM_PWM_ConfigChannel(&htim3, &sConfigOC, TIM_CHANNEL_2) != HAL_OK)
  {
    Error_Handler();
  }
  if (HAL_TIM_PWM_ConfigChannel(&htim3, &sConfigOC, TIM_CHANNEL_3) != HAL_OK)
  {
    Error_Handler();
  }
  if (HAL_TIM_PWM_ConfigChannel(&htim3, &sConfigOC, TIM_CHANNEL_4) != HAL_OK)
  {
    Error_Handler();
  }
  HAL_TIM_MspPostInit(&htim3);

}

static void MX_TIM4_Init(void)
{

  TIM_ClockConfigTypeDef sClockSourceConfig = {0};
  TIM_MasterConfigTypeDef sMasterConfig = {0};
  TIM_OC_InitTypeDef sConfigOC = {0};

  htim4.Instance = TIM4;
  htim4.Init.Prescaler = 5-1;
  htim4.Init.CounterMode = TIM_COUNTERMODE_UP;
  htim4.Init.Period = 1000-1;
  htim4.Init.ClockDivision = TIM_CLOCKDIVISION_DIV1;
  htim4.Init.AutoReloadPreload = TIM_AUTORELOAD_PRELOAD_ENABLE;
  if (HAL_TIM_Base_Init(&htim4) != HAL_OK)
  {
    Error_Handler();
  }
  sClockSourceConfig.ClockSource = TIM_CLOCKSOURCE_INTERNAL;
  if (HAL_TIM_ConfigClockSource(&htim4, &sClockSourceConfig) != HAL_OK)
  {
    Error_Handler();
  }
  if (HAL_TIM_PWM_Init(&htim4) != HAL_OK)
  {
    Error_Handler();
  }
  sMasterConfig.MasterOutputTrigger = TIM_TRGO_RESET;
  sMasterConfig.MasterSlaveMode = TIM_MASTERSLAVEMODE_DISABLE;
  if (HAL_TIMEx_MasterConfigSynchronization(&htim4, &sMasterConfig) != HAL_OK)
  {
    Error_Handler();
  }
  sConfigOC.OCMode = TIM_OCMODE_PWM1;
  sConfigOC.Pulse = 0;
  sConfigOC.OCPolarity = TIM_OCPOLARITY_HIGH;
  sConfigOC.OCFastMode = TIM_OCFAST_DISABLE;
  if (HAL_TIM_PWM_ConfigChannel(&htim4, &sConfigOC, TIM_CHANNEL_1) != HAL_OK)
  {
    Error_Handler();
  }
  if (HAL_TIM_PWM_ConfigChannel(&htim4, &sConfigOC, TIM_CHANNEL_2) != HAL_OK)
  {
    Error_Handler();
  }
  if (HAL_TIM_PWM_ConfigChannel(&htim4, &sConfigOC, TIM_CHANNEL_3) != HAL_OK)
  {
    Error_Handler();
  }
  if (HAL_TIM_PWM_ConfigChannel(&htim4, &sConfigOC, TIM_CHANNEL_4) != HAL_OK)
  {
    Error_Handler();
  }
  HAL_TIM_MspPostInit(&htim4);

}

static void MX_TIM5_Init(void)
{

  TIM_ClockConfigTypeDef sClockSourceConfig = {0};
  TIM_MasterConfigTypeDef sMasterConfig = {0};
  TIM_OC_InitTypeDef sConfigOC = {0};

  htim5.Instance = TIM5;
  htim5.Init.Prescaler = 5-1;
  htim5.Init.CounterMode = TIM_COUNTERMODE_UP;
  htim5.Init.Period = 1000-1;
  htim5.Init.ClockDivision = TIM_CLOCKDIVISION_DIV1;
  htim5.Init.AutoReloadPreload = TIM_AUTORELOAD_PRELOAD_ENABLE;
  if (HAL_TIM_Base_Init(&htim5) != HAL_OK)
  {
    Error_Handler();
  }
  sClockSourceConfig.ClockSource = TIM_CLOCKSOURCE_INTERNAL;
  if (HAL_TIM_ConfigClockSource(&htim5, &sClockSourceConfig) != HAL_OK)
  {
    Error_Handler();
  }
  if (HAL_TIM_PWM_Init(&htim5) != HAL_OK)
  {
    Error_Handler();
  }
  sMasterConfig.MasterOutputTrigger = TIM_TRGO_RESET;
  sMasterConfig.MasterSlaveMode = TIM_MASTERSLAVEMODE_DISABLE;
  if (HAL_TIMEx_MasterConfigSynchronization(&htim5, &sMasterConfig) != HAL_OK)
  {
    Error_Handler();
  }
  sConfigOC.OCMode = TIM_OCMODE_PWM1;
  sConfigOC.Pulse = 0;
  sConfigOC.OCPolarity = TIM_OCPOLARITY_HIGH;
  sConfigOC.OCFastMode = TIM_OCFAST_DISABLE;
  if (HAL_TIM_PWM_ConfigChannel(&htim5, &sConfigOC, TIM_CHANNEL_1) != HAL_OK)
  {
    Error_Handler();
  }
  if (HAL_TIM_PWM_ConfigChannel(&htim5, &sConfigOC, TIM_CHANNEL_2) != HAL_OK)
  {
    Error_Handler();
  }
  HAL_TIM_MspPostInit(&htim5);

}

static void MX_TIM8_Init(void)
{

  TIM_ClockConfigTypeDef sClockSourceConfig = {0};
  TIM_MasterConfigTypeDef sMasterConfig = {0};
  TIM_OC_InitTypeDef sConfigOC = {0};
  TIM_BreakDeadTimeConfigTypeDef sBreakDeadTimeConfig = {0};

  htim8.Instance = TIM8;
  htim8.Init.Prescaler = 10-1;
  htim8.Init.CounterMode = TIM_COUNTERMODE_UP;
  htim8.Init.Period = 1000-1;
  htim8.Init.ClockDivision = TIM_CLOCKDIVISION_DIV1;
  htim8.Init.RepetitionCounter = 0;
  htim8.Init.AutoReloadPreload = TIM_AUTORELOAD_PRELOAD_ENABLE;
  if (HAL_TIM_Base_Init(&htim8) != HAL_OK)
  {
    Error_Handler();
  }
  sClockSourceConfig.ClockSource = TIM_CLOCKSOURCE_INTERNAL;
  if (HAL_TIM_ConfigClockSource(&htim8, &sClockSourceConfig) != HAL_OK)
  {
    Error_Handler();
  }
  if (HAL_TIM_PWM_Init(&htim8) != HAL_OK)
  {
    Error_Handler();
  }
  sMasterConfig.MasterOutputTrigger = TIM_TRGO_RESET;
  sMasterConfig.MasterSlaveMode = TIM_MASTERSLAVEMODE_DISABLE;
  if (HAL_TIMEx_MasterConfigSynchronization(&htim8, &sMasterConfig) != HAL_OK)
  {
    Error_Handler();
  }
  sConfigOC.OCMode = TIM_OCMODE_PWM1;
  sConfigOC.Pulse = 0;
  sConfigOC.OCPolarity = TIM_OCPOLARITY_HIGH;
  sConfigOC.OCNPolarity = TIM_OCNPOLARITY_HIGH;
  sConfigOC.OCFastMode = TIM_OCFAST_DISABLE;
  sConfigOC.OCIdleState = TIM_OCIDLESTATE_RESET;
  sConfigOC.OCNIdleState = TIM_OCNIDLESTATE_RESET;
  if (HAL_TIM_PWM_ConfigChannel(&htim8, &sConfigOC, TIM_CHANNEL_1) != HAL_OK)
  {
    Error_Handler();
  }
  if (HAL_TIM_PWM_ConfigChannel(&htim8, &sConfigOC, TIM_CHANNEL_2) != HAL_OK)
  {
    Error_Handler();
  }
  sBreakDeadTimeConfig.OffStateRunMode = TIM_OSSR_DISABLE;
  sBreakDeadTimeConfig.OffStateIDLEMode = TIM_OSSI_DISABLE;
  sBreakDeadTimeConfig.LockLevel = TIM_LOCKLEVEL_OFF;
  sBreakDeadTimeConfig.DeadTime = 0;
  sBreakDeadTimeConfig.BreakState = TIM_BREAK_DISABLE;
  sBreakDeadTimeConfig.BreakPolarity = TIM_BREAKPOLARITY_HIGH;
  sBreakDeadTimeConfig.AutomaticOutput = TIM_AUTOMATICOUTPUT_DISABLE;
  if (HAL_TIMEx_ConfigBreakDeadTime(&htim8, &sBreakDeadTimeConfig) != HAL_OK)
  {
    Error_Handler();
  }
  HAL_TIM_MspPostInit(&htim8);

}

static void MX_TIM9_Init(void)
{

  TIM_ClockConfigTypeDef sClockSourceConfig = {0};
  TIM_OC_InitTypeDef sConfigOC = {0};

  htim9.Instance = TIM9;
  htim9.Init.Prescaler = 10-1;
  htim9.Init.CounterMode = TIM_COUNTERMODE_UP;
  htim9.Init.Period = 1000-1;
  htim9.Init.ClockDivision = TIM_CLOCKDIVISION_DIV1;
  htim9.Init.AutoReloadPreload = TIM_AUTORELOAD_PRELOAD_ENABLE;
  if (HAL_TIM_Base_Init(&htim9) != HAL_OK)
  {
    Error_Handler();
  }
  sClockSourceConfig.ClockSource = TIM_CLOCKSOURCE_INTERNAL;
  if (HAL_TIM_ConfigClockSource(&htim9, &sClockSourceConfig) != HAL_OK)
  {
    Error_Handler();
  }
  if (HAL_TIM_PWM_Init(&htim9) != HAL_OK)
  {
    Error_Handler();
  }
  sConfigOC.OCMode = TIM_OCMODE_PWM1;
  sConfigOC.Pulse = 0;
  sConfigOC.OCPolarity = TIM_OCPOLARITY_HIGH;
  sConfigOC.OCFastMode = TIM_OCFAST_DISABLE;
  if (HAL_TIM_PWM_ConfigChannel(&htim9, &sConfigOC, TIM_CHANNEL_1) != HAL_OK)
  {
    Error_Handler();
  }
  if (HAL_TIM_PWM_ConfigChannel(&htim9, &sConfigOC, TIM_CHANNEL_2) != HAL_OK)
  {
    Error_Handler();
  }
  HAL_TIM_MspPostInit(&htim9);

}

static void MX_TIM12_Init(void)
{

  TIM_ClockConfigTypeDef sClockSourceConfig = {0};
  TIM_OC_InitTypeDef sConfigOC = {0};

  htim12.Instance = TIM12;
  htim12.Init.Prescaler = 30-1;
  htim12.Init.CounterMode = TIM_COUNTERMODE_UP;
  htim12.Init.Period = 60000-1;
  htim12.Init.ClockDivision = TIM_CLOCKDIVISION_DIV1;
  htim12.Init.AutoReloadPreload = TIM_AUTORELOAD_PRELOAD_ENABLE;
  if (HAL_TIM_Base_Init(&htim12) != HAL_OK)
  {
    Error_Handler();
  }
  sClockSourceConfig.ClockSource = TIM_CLOCKSOURCE_INTERNAL;
  if (HAL_TIM_ConfigClockSource(&htim12, &sClockSourceConfig) != HAL_OK)
  {
    Error_Handler();
  }
  if (HAL_TIM_PWM_Init(&htim12) != HAL_OK)
  {
    Error_Handler();
  }
  sConfigOC.OCMode = TIM_OCMODE_PWM1;
  sConfigOC.Pulse = 0;
  sConfigOC.OCPolarity = TIM_OCPOLARITY_HIGH;
  sConfigOC.OCFastMode = TIM_OCFAST_DISABLE;
  if (HAL_TIM_PWM_ConfigChannel(&htim12, &sConfigOC, TIM_CHANNEL_1) != HAL_OK)
  {
    Error_Handler();
  }
  if (HAL_TIM_PWM_ConfigChannel(&htim12, &sConfigOC, TIM_CHANNEL_2) != HAL_OK)
  {
    Error_Handler();
  }
  HAL_TIM_MspPostInit(&htim12);

}

static void MX_USART3_UART_Init(void)
{

  huart3.Instance = USART3;
  huart3.Init.BaudRate = 115200;
  huart3.Init.WordLength = UART_WORDLENGTH_8B;
  huart3.Init.StopBits = UART_STOPBITS_1;
  huart3.Init.Parity = UART_PARITY_NONE;
  huart3.Init.Mode = UART_MODE_TX_RX;
  huart3.Init.HwFlowCtl = UART_HWCONTROL_NONE;
  huart3.Init.OverSampling = UART_OVERSAMPLING_16;
  if (HAL_UART_Init(&huart3) != HAL_OK)
  {
    Error_Handler();
  }

}

static void MX_GPIO_Init(void)
{
  GPIO_InitTypeDef GPIO_InitStruct = {0};

  /* GPIO Ports Clock Enable */
  __HAL_RCC_GPIOE_CLK_ENABLE();
  __HAL_RCC_GPIOC_CLK_ENABLE();
  __HAL_RCC_GPIOF_CLK_ENABLE();
  __HAL_RCC_GPIOH_CLK_ENABLE();
  __HAL_RCC_GPIOA_CLK_ENABLE();
  __HAL_RCC_GPIOB_CLK_ENABLE();
  __HAL_RCC_GPIOG_CLK_ENABLE();
  __HAL_RCC_GPIOD_CLK_ENABLE();

  /*Configure GPIO pin Output Level */
  HAL_GPIO_WritePin(SPI_CS_GPIO_Port, SPI_CS_Pin, GPIO_PIN_RESET);

  /*Configure GPIO pin Output Level */
  HAL_GPIO_WritePin(GPIOC, PISTON_PELONTAR_Pin|PISTON_A_Pin|PISTON_B_Pin|PISTON_BOLA_Pin
                          |PISTON_PADI_Pin|PISTON_D_Pin, GPIO_PIN_RESET);

  /*Configure GPIO pin Output Level */
  HAL_GPIO_WritePin(GPIOB, LD1_Pin|EN_EXDR_Pin|LD2_Pin, GPIO_PIN_RESET);

  /*Configure GPIO pin Output Level */
  HAL_GPIO_WritePin(GPIOG, EN_LF_Pin|EN_RF_Pin|EN_EXDL_Pin|EN_RB_Pin
                          |EN_PADI_Pin|EN_PELONTAR_Pin, GPIO_PIN_RESET);

  /*Configure GPIO pin Output Level */
  HAL_GPIO_WritePin(GPIOD, EN_LB_Pin|PISTON_C_Pin, GPIO_PIN_RESET);

  /*Configure GPIO pin Output Level */
  HAL_GPIO_WritePin(EN_BOLA_GPIO_Port, EN_BOLA_Pin, GPIO_PIN_RESET);

  /*Configure GPIO pins : ENC4_A_Pin ENC4_B_Pin ENC3_B_Pin ENC1_A_Pin
                           ENC2_A_Pin ENC3_A_Pin ENC2_B_Pin */
  GPIO_InitStruct.Pin = ENC4_A_Pin|ENC4_B_Pin|ENC3_B_Pin|ENC1_A_Pin
                          |ENC2_A_Pin|ENC3_A_Pin|ENC2_B_Pin;
  GPIO_InitStruct.Mode = GPIO_MODE_IT_RISING;
  GPIO_InitStruct.Pull = GPIO_PULLUP;
  HAL_GPIO_Init(GPIOF, &GPIO_InitStruct);

  /*Configure GPIO pin : SPI_CS_Pin */
  GPIO_InitStruct.Pin = SPI_CS_Pin;
  GPIO_InitStruct.Mode = GPIO_MODE_OUTPUT_PP;
  GPIO_InitStruct.Pull = GPIO_NOPULL;
  GPIO_InitStruct.Speed = GPIO_SPEED_FREQ_LOW;
  HAL_GPIO_Init(SPI_CS_GPIO_Port, &GPIO_InitStruct);

  /*Configure GPIO pins : PISTON_PELONTAR_Pin PISTON_A_Pin PISTON_B_Pin PISTON_BOLA_Pin
                           PISTON_PADI_Pin PISTON_D_Pin */
  GPIO_InitStruct.Pin = PISTON_PELONTAR_Pin|PISTON_A_Pin|PISTON_B_Pin|PISTON_BOLA_Pin
                          |PISTON_PADI_Pin|PISTON_D_Pin;
  GPIO_InitStruct.Mode = GPIO_MODE_OUTPUT_PP;
  GPIO_InitStruct.Pull = GPIO_NOPULL;
  GPIO_InitStruct.Speed = GPIO_SPEED_FREQ_MEDIUM;
  HAL_GPIO_Init(GPIOC, &GPIO_InitStruct);

  /*Configure GPIO pins : LD1_Pin EN_EXDR_Pin LD2_Pin */
  GPIO_InitStruct.Pin = LD1_Pin|EN_EXDR_Pin|LD2_Pin;
  GPIO_InitStruct.Mode = GPIO_MODE_OUTPUT_PP;
  GPIO_InitStruct.Pull = GPIO_NOPULL;
  GPIO_InitStruct.Speed = GPIO_SPEED_FREQ_LOW;
  HAL_GPIO_Init(GPIOB, &GPIO_InitStruct);

  /*Configure GPIO pins : LS_2_Pin LS_3_Pin LS_7_Pin */
  GPIO_InitStruct.Pin = LS_2_Pin|LS_3_Pin|LS_7_Pin;
  GPIO_InitStruct.Mode = GPIO_MODE_INPUT;
  GPIO_InitStruct.Pull = GPIO_PULLUP;
  HAL_GPIO_Init(GPIOG, &GPIO_InitStruct);

  /*Configure GPIO pins : EN_LF_Pin EN_RF_Pin EN_EXDL_Pin EN_RB_Pin
                           EN_PADI_Pin EN_PELONTAR_Pin */
  GPIO_InitStruct.Pin = EN_LF_Pin|EN_RF_Pin|EN_EXDL_Pin|EN_RB_Pin
                          |EN_PADI_Pin|EN_PELONTAR_Pin;
  GPIO_InitStruct.Mode = GPIO_MODE_OUTPUT_PP;
  GPIO_InitStruct.Pull = GPIO_NOPULL;
  GPIO_InitStruct.Speed = GPIO_SPEED_FREQ_LOW;
  HAL_GPIO_Init(GPIOG, &GPIO_InitStruct);

  /*Configure GPIO pins : LS_4_Pin LS_6_Pin */
  GPIO_InitStruct.Pin = LS_4_Pin|LS_6_Pin;
  GPIO_InitStruct.Mode = GPIO_MODE_INPUT;
  GPIO_InitStruct.Pull = GPIO_PULLUP;
  HAL_GPIO_Init(GPIOD, &GPIO_InitStruct);

  /*Configure GPIO pin : USB_OverCurrent_Pin */
  GPIO_InitStruct.Pin = USB_OverCurrent_Pin;
  GPIO_InitStruct.Mode = GPIO_MODE_INPUT;
  GPIO_InitStruct.Pull = GPIO_NOPULL;
  HAL_GPIO_Init(USB_OverCurrent_GPIO_Port, &GPIO_InitStruct);

  /*Configure GPIO pin : EN_LB_Pin */
  GPIO_InitStruct.Pin = EN_LB_Pin;
  GPIO_InitStruct.Mode = GPIO_MODE_OUTPUT_PP;
  GPIO_InitStruct.Pull = GPIO_NOPULL;
  GPIO_InitStruct.Speed = GPIO_SPEED_FREQ_LOW;
  HAL_GPIO_Init(EN_LB_GPIO_Port, &GPIO_InitStruct);

  /*Configure GPIO pin : PISTON_C_Pin */
  GPIO_InitStruct.Pin = PISTON_C_Pin;
  GPIO_InitStruct.Mode = GPIO_MODE_OUTPUT_PP;
  GPIO_InitStruct.Pull = GPIO_NOPULL;
  GPIO_InitStruct.Speed = GPIO_SPEED_FREQ_MEDIUM;
  HAL_GPIO_Init(PISTON_C_GPIO_Port, &GPIO_InitStruct);

  /*Configure GPIO pin : LS_5_Pin */
  GPIO_InitStruct.Pin = LS_5_Pin;
  GPIO_InitStruct.Mode = GPIO_MODE_IT_RISING;
  GPIO_InitStruct.Pull = GPIO_PULLUP;
  HAL_GPIO_Init(LS_5_GPIO_Port, &GPIO_InitStruct);

  /*Configure GPIO pins : LS_1_Pin ENC1_B_Pin */
  GPIO_InitStruct.Pin = LS_1_Pin|ENC1_B_Pin;
  GPIO_InitStruct.Mode = GPIO_MODE_IT_RISING;
  GPIO_InitStruct.Pull = GPIO_PULLUP;
  HAL_GPIO_Init(GPIOG, &GPIO_InitStruct);

  /*Configure GPIO pin : EN_BOLA_Pin */
  GPIO_InitStruct.Pin = EN_BOLA_Pin;
  GPIO_InitStruct.Mode = GPIO_MODE_OUTPUT_PP;
  GPIO_InitStruct.Pull = GPIO_NOPULL;
  GPIO_InitStruct.Speed = GPIO_SPEED_FREQ_LOW;
  HAL_GPIO_Init(EN_BOLA_GPIO_Port, &GPIO_InitStruct);

  /* EXTI interrupt init*/
  HAL_NVIC_SetPriority(EXTI1_IRQn, 5, 0);
  HAL_NVIC_EnableIRQ(EXTI1_IRQn);

  HAL_NVIC_SetPriority(EXTI2_IRQn, 5, 0);
  HAL_NVIC_EnableIRQ(EXTI2_IRQn);

  HAL_NVIC_SetPriority(EXTI3_IRQn, 5, 0);
  HAL_NVIC_EnableIRQ(EXTI3_IRQn);

  HAL_NVIC_SetPriority(EXTI4_IRQn, 5, 0);
  HAL_NVIC_EnableIRQ(EXTI4_IRQn);

  HAL_NVIC_SetPriority(EXTI9_5_IRQn, 5, 0);
  HAL_NVIC_EnableIRQ(EXTI9_5_IRQn);

  HAL_NVIC_SetPriority(EXTI15_10_IRQn, 5, 0);
  HAL_NVIC_EnableIRQ(EXTI15_10_IRQn);

}

/* USER CODE BEGIN 4 */
void HAL_GPIO_EXTI_Callback(uint16_t GPIO_Pin){
	if (GPIO_Pin == LS_1_Pin) {
		lsflag_1 = 1;
	}

//	if (GPIO_Pin == LS_2_Pin) {
//		lsflag_2 = 1;
//	}

//	if (GPIO_Pin == LS_3_Pin) {
//		lsflag_3 = 1;
//	}
//
//	if (GPIO_Pin == LS_4_Pin) {
//		lsflag_4 = 1;
//	}

	if (GPIO_Pin == LS_5_Pin) {
		lsflag_5 = 1;
	}

//	if(GPIO_Pin == ENC1_A_Pin) read_pulse_A(&R_front);
//	else if(GPIO_Pin == ENC1_B_Pin) read_pulse_B(&R_front);

}
/* USER CODE END 4 */

void InputHandle_Task(void const * argument)
{
  /* USER CODE BEGIN 5 */
  /* Infinite loop */
  for(;;)
  {
//	  printf("input task\r\n");
	  currentTick = HAL_GetTick(); //kayak millis
	  ds4();
	  lxm = lx - lxs;
	  lym = ly - lys;
	  if(segitiga==1){
		  if(currentTick-nowTick>100 && nos<2){
			  nos+=0.2;
			  nowTick = currentTick;
		  }
	  }
	  else nos = 1;

//	  printf("\r\n at:%d, ki:%d, bw:%d, ka:%d, se3:%d, se4:%d, x:%d, o:%d,r1:%d, l1:%d, r3:%d, l3:%d, shr:%d, opt:%d, ps:%d, tpad:%d, lx:%d, ly:%d  ",
//			  atas, kiri, bawah, kanan, segitiga, kotak,silang,bulat,r1, l1, r3, l3, share, options,ps,tpad, lxm, lym);
//	  printf("\r\n lxs:%d , lys:%d, lx:%d, ly:%d, lxm:%d, lym:%d",
//	  			   lxs, lys, lx, ly, lxm, lym);
//	  printf("w1:%d, w2:%d, w3:%d, w4:%d, putar:%d", wheel[0], wheel[1], wheel[2], wheel[3], putar);
	  osDelay(1);
  }
  /* USER CODE END 5 */
}

void MechanismHandle_Task(void const * argument)
{
  /* USER CODE BEGIN MechanismHandle_Task */
  /* Infinite loop */
  for(;;)
  {
//	  currentTick = HAL_GetTick(); //kayak millis
//	  if(segitiga==1){
//		  if(currentTick-nowTick>100 && nos<2){
//			  nos+=0.2;
//			  nowTick = currentTick;
//		  }
//	  }
//	  else nos = 1;
	  if (ps == 1) {
		  if (currentTick - nowTick > 500) {
			  kec=0;
			  adj=0;
			  mode=mode*-1;
			  l = l*-1;
			  nowTick = currentTick;
		  }
	  }

	  if (mode>0) {
		  mode_padi();
	  }
	  else if (mode<0) {
		  mode_bola();
	  }

	  //printf("mechanism task\r\n");
	  osDelay(1);
  }
  /* USER CODE END MechanismHandle_Task */
}

void OmniHandle_Task(void const * argument)
{
  /* USER CODE BEGIN OmniHandle_Task */
  /* Infinite loop */
  for(;;)
  {
//	  printf("omni task\r\n");
	  if (l2 < r2) putar = -1*r2;
	  else if (l2 > r2) putar = l2;
	  else putar = 0;

	  if (mode>0) putar1=putar/1.6;
	  else if (mode<0) putar1=putar/1.6;

	  th = putar1;

	  if (mode==1){
		  kinematikM2(lxm, lym, th, nos);
		  	  for (uint8_t i = 0; i < 4; i++) {
		  		  wheel[0] = map(out[0], -360, 360, -1000, 1000);//386
		  		  wheel[1] = map(out[1], -360, 360, -1000, 1000);//360
		  		  wheel[2] = map(out[2], -360, 360, -1000, 1000);
		  		  wheel[3] = map(out[3], -360, 360, -1000, 1000);
		  	  }
	  }
	  else if(mode==-1){
		  kinematikM1(lxm, lym, th, nos);
		  	  for (uint8_t i = 0; i < 4; i++) {
		  		  wheel[0] = map(out[0], -360, 360, -1000, 1000);//386
		  		  wheel[1] = map(out[1], -360, 360, -1000, 1000);//360
		  		  wheel[2] = map(out[2], -360, 360, -1000, 1000);
		  		  wheel[3] = map(out[3], -360, 360, -1000, 1000);
		  	  }
	  }
//	  kinematikM(lxm, lym, th, nos);
//	  for (uint8_t i = 0; i < 4; i++) {
//		  wheel[0] = map(out[0], -360, 360, -1000, 1000);//386
//		  wheel[1] = map(out[1], -360, 360, -1000, 1000);//360
//		  wheel[2] = map(out[2], -360, 360, -1000, 1000);
//		  wheel[3] = map(out[3], -360, 360, -1000, 1000);
//	  }
	  /*coba PID
//	  read_pulse_A(&R_front);
//	  read_pulse_B(&R_front);
//	  rpm4 = L_front.RPM;
//	  rpm2 = L_back.RPM;
//	  rpm3 = R_back.RPM;
//	  rpm1 = R_front.RPM;

//	  PID_Compute(&lf, wheel[0], rpm1);
//	  PID_Compute(&lb, wheel[1], rpm2);
//	  PID_Compute(&rb, wheel[2], rpm3);
//	  PID_Compute(&rf, wheel[3], rpm1);

//	  motor_drive(&LeftFront, out[0], lf.output);
//	  motor_drive(&LeftBack, out[1], lb.output);
//	  motor_drive(&RightBack, out[2], rb.output);
//	  motor_drive(&RightFront, out[3], rf.output);
	  */
	  motor_drive(&LeftFront, out[0], wheel[0]);
	  motor_drive(&LeftBack, out[1], wheel[1]);
	  motor_drive(&RightBack, out[2], wheel[2]);
	  motor_drive(&RightFront, out[3], wheel[3]);
//	  printf("out0:%d,out1:%d,out2:%d,out3:%d", out[0],out[1],out[2],out[3]);
	  osDelay(1);
  }
  /* USER CODE END OmniHandle_Task */
}

void HAL_TIM_PeriodElapsedCallback(TIM_HandleTypeDef *htim)
{
  if (htim->Instance == TIM7) {
    HAL_IncTick();
  }
}

void Error_Handler(void)
{
  __disable_irq();
  while (1)
  {
  }
}
